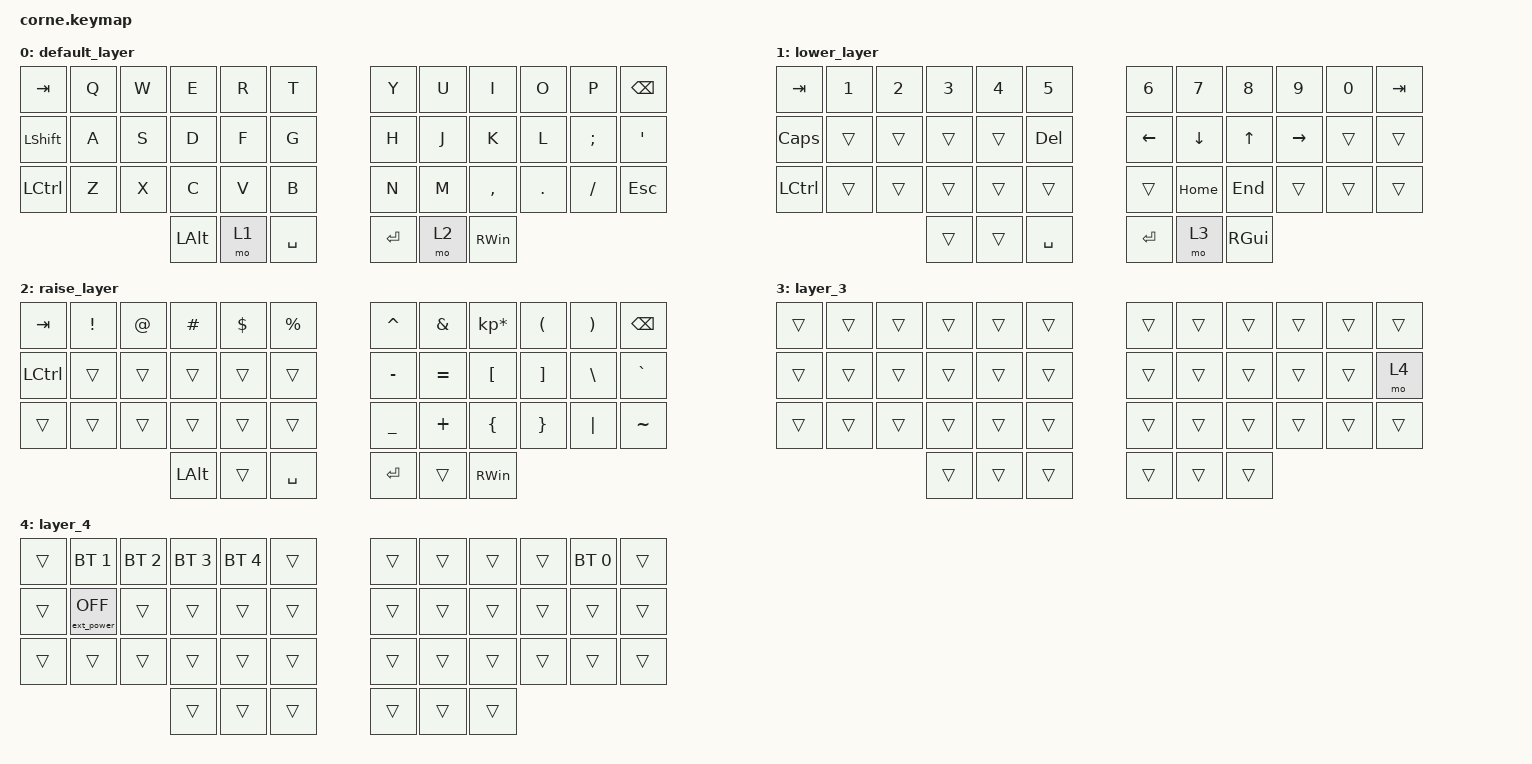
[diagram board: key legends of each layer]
/*
 * Copyright (c) 2020 The ZMK Contributors
 *
 * SPDX-License-Identifier: MIT
 */

#include <behaviors.dtsi>
#include <dt-bindings/zmk/bt.h>
#include <dt-bindings/zmk/ext_power.h>
#include <dt-bindings/zmk/keys.h>

/ {
    keymap {
        compatible = "zmk,keymap";

        default_layer {
            // -----------------------------------------------------------------------------------------
            // |  TAB |  Q  |  W  |  E  |  R  |  T  |   |  Y  |  U   |  I  |  O  |  P  | BKSP |
            // | CTRL |  A  |  S  |  D  |  F  |  G  |   |  H  |  J   |  K  |  L  |  ;  |  '   |
            // | SHFT |  Z  |  X  |  C  |  V  |  B  |   |  N  |  M   |  ,  |  .  |  /  | ESC  |
            //                    | GUI | LWR | SPC |   | ENT | RSE  | ALT |

            bindings = <
&kp TAB           &kp Q  &kp W  &kp E         &kp R  &kp T        &kp Y    &kp U  &kp I          &kp O    &kp P     &kp BSPC
&kp LEFT_SHIFT    &kp A  &kp S  &kp D         &kp F  &kp G        &kp H    &kp J  &kp K          &kp L    &kp SEMI  &kp SQT
&kp LEFT_CONTROL  &kp Z  &kp X  &kp C         &kp V  &kp B        &kp N    &kp M  &kp COMMA      &kp DOT  &kp FSLH  &kp ESC
                                &kp LEFT_ALT  &mo 1  &kp SPACE    &kp RET  &mo 2  &kp RIGHT_WIN
            >;
        };

        lower_layer {
            // -----------------------------------------------------------------------------------------
            // |  TAB |  1  |  2  |  3  |  4  |  5  |   |  6  |  7  |  8  |  9  |  0  | BKSP |
            // | BTCLR| BT1 | BT2 | BT3 | BT4 | BT5 |   | LFT | DWN |  UP | RGT |     |      |
            // | SHFT |     |     |     |     |     |   |     |     |     |     |     |      |
            //                    | GUI |     | SPC |   | ENT |     | ALT |

            bindings = <
&kp TAB    &kp N1  &kp N2  &kp N3  &kp N4  &kp N5       &kp N6    &kp N7    &kp N8         &kp N9     &kp N0  &kp TAB
&kp CAPS   &trans  &trans  &trans  &trans  &kp DEL      &kp LEFT  &kp DOWN  &kp UP         &kp RIGHT  &trans  &trans
&kp LCTRL  &trans  &trans  &trans  &trans  &trans       &trans    &kp HOME  &kp END        &trans     &trans  &trans
                           &trans  &trans  &kp SPACE    &kp RET   &mo 3     &kp RIGHT_GUI
            >;
        };

        raise_layer {
            // -----------------------------------------------------------------------------------------
            // |  TAB |  !  |  @  |  #  |  $  |  %  |   |  ^  |  &  |  *  |  (  |  )  | BKSP |
            // | CTRL |     |     |     |     |     |   |  -  |  =  |  [  |  ]  |  \  |  `   |
            // | SHFT |     |     |     |     |     |   |  _  |  +  |  {  |  }  | "|" |  ~   |
            //                    | GUI |     | SPC |   | ENT |     | ALT |

            bindings = <
&kp TAB    &kp EXCL  &kp AT  &kp HASH      &kp DLLR  &kp PRCNT    &kp CARET  &kp AMPS   &kp KP_MULTIPLY  &kp LPAR  &kp RPAR  &kp BSPC
&kp LCTRL  &trans    &trans  &trans        &trans    &trans       &kp MINUS  &kp EQUAL  &kp LBKT         &kp RBKT  &kp BSLH  &kp GRAVE
&trans     &trans    &trans  &trans        &trans    &trans       &kp UNDER  &kp PLUS   &kp LBRC         &kp RBRC  &kp PIPE  &kp TILDE
                             &kp LEFT_ALT  &trans    &kp SPACE    &kp RET    &trans     &kp RIGHT_WIN
            >;
        };

        layer_3 {
            bindings = <
&trans  &trans  &trans  &trans  &trans  &trans    &trans  &trans  &trans  &trans  &trans  &trans
&trans  &trans  &trans  &trans  &trans  &trans    &trans  &trans  &trans  &trans  &trans  &mo 4
&trans  &trans  &trans  &trans  &trans  &trans    &trans  &trans  &trans  &trans  &trans  &trans
                        &trans  &trans  &trans    &trans  &trans  &trans
            >;
        };

        layer_4 {
            bindings = <
&trans  &bt BT_SEL 1       &bt BT_SEL 2  &bt BT_SEL 3  &bt BT_SEL 4  &trans    &trans  &trans  &trans  &trans  &bt BT_SEL 0  &trans
&trans  &ext_power EP_OFF  &trans        &trans        &trans        &trans    &trans  &trans  &trans  &trans  &trans        &trans
&trans  &trans             &trans        &trans        &trans        &trans    &trans  &trans  &trans  &trans  &trans        &trans
                                         &trans        &trans        &trans    &trans  &trans  &trans
            >;
        };
    };
};
